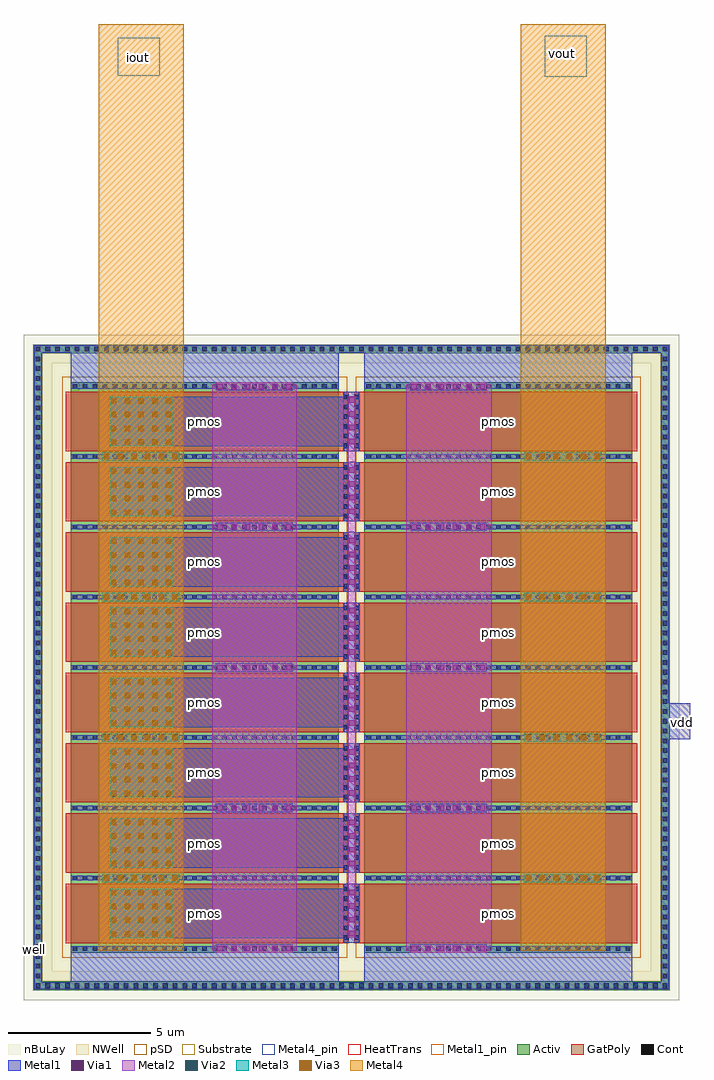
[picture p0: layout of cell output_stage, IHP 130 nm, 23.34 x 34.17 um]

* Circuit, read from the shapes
.subckt output_stage iout vdd vout
XM1 iout iout vdd vdd sg13_lv_pmos w=9.375u l=2.08u m=8
XM2 vout iout vdd vdd sg13_lv_pmos w=9.375u l=2.08u m=8
.ends

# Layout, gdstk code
import gdstk
lib = gdstk.Library(unit=1e-6, precision=1e-09)
def R(c, l, rs):  # rectangles x0, y0, x1, y1
    for r in rs: c.add(gdstk.rectangle(r[:2], r[2:], *l))
def A(c, l, x, y, w, h, nx, ny, dx, dy):  # array of equal rectangles
    R(c, l, [(x+i*dx, y+j*dy, x+i*dx+w, y+j*dy+h) for i in range(nx) for j in range(ny)])
def P(c, l, *ps):  # polygons
    for p in ps: c.add(gdstk.Polygon(p, *l))
Activ = (1, 0)
GatPoly = (5, 0)
Cont = (6, 0)
Metal1 = (8, 0)
Metal1_pin = (8, 2)
Metal2 = (10, 0)
pSD = (14, 0)
Via1 = (19, 0)
Via2 = (29, 0)
Metal3 = (30, 0)
NWell = (31, 0)
nBuLay = (32, 0)
Substrate = (40, 0)
Via3 = (49, 0)
Metal4 = (50, 0)
Metal4_pin = (50, 2)
HeatTrans = (51, 0)

output_stage = lib.new_cell('output_stage')
A(output_stage, Activ, 12.33, 35.43, 0.3, 0.3, 1, 9, 0, 2.46)
A(output_stage, Activ, 22.615, 35.43, 0.3, 0.3, 1, 9, 0, 2.46)
R(output_stage, Activ, [(12.33,35.43,21.705,55.41), (22.615,35.43,31.99,55.41)])
P(output_stage, Activ, [(11.025,34.12),(11.025,56.72),(33.295,56.72),(33.295,34.12),(32.985,34.12),(32.985,56.41),(11.335,56.41),(11.335,34.43),(32.985,34.43),(32.985,34.12)])
A(output_stage, GatPoly, 12.15, 35.77, 9.735, 2.08, 1, 8, 0, 2.46)
A(output_stage, GatPoly, 21.885, 35.77, 0.18, 2.08, 1, 8, 0, 2.46)
A(output_stage, GatPoly, 22.255, 35.77, 0.18, 2.08, 1, 8, 0, 2.46)
A(output_stage, GatPoly, 22.435, 35.77, 9.735, 2.08, 1, 8, 0, 2.46)
R(output_stage, GatPoly, [(12.15,35.77,21.885,37.85), (22.435,35.77,32.17,37.85)])
A(output_stage, Cont, 11.785, 34.195, 0.16, 0.16, 3, 2, 0.345, 22.29)
A(output_stage, Cont, 13.5, 34.195, 0.16, 0.16, 3, 2, 0.345, 22.29)
A(output_stage, Cont, 15.215, 34.195, 0.16, 0.16, 3, 2, 0.345, 22.29)
A(output_stage, Cont, 16.245, 34.195, 0.16, 0.16, 3, 2, 0.345, 22.29)
A(output_stage, Cont, 17.275, 34.195, 0.16, 0.16, 3, 2, 0.345, 22.29)
A(output_stage, Cont, 18.99, 34.195, 0.16, 0.16, 3, 2, 0.345, 22.29)
A(output_stage, Cont, 20.705, 34.195, 0.16, 0.16, 3, 2, 0.345, 22.29)
A(output_stage, Cont, 21.735, 34.195, 0.16, 0.16, 3, 2, 0.345, 22.29)
A(output_stage, Cont, 22.765, 34.195, 0.16, 0.16, 3, 2, 0.345, 22.29)
A(output_stage, Cont, 24.48, 34.195, 0.16, 0.16, 3, 2, 0.345, 22.29)
A(output_stage, Cont, 25.51, 34.195, 0.16, 0.16, 3, 2, 0.345, 22.29)
A(output_stage, Cont, 27.225, 34.195, 0.16, 0.16, 3, 2, 0.345, 22.29)
A(output_stage, Cont, 28.255, 34.195, 0.16, 0.16, 3, 2, 0.345, 22.29)
A(output_stage, Cont, 29.97, 34.195, 0.16, 0.16, 3, 2, 0.345, 22.29)
A(output_stage, Cont, 31, 34.195, 0.16, 0.16, 3, 2, 0.345, 22.29)
A(output_stage, Cont, 12.4, 35.5, 0.16, 0.16, 1, 9, 0, 2.46)
A(output_stage, Cont, 12.745, 35.5, 0.16, 0.16, 5, 9, 0.35, 2.46)
A(output_stage, Cont, 14.49, 35.5, 0.16, 0.16, 5, 9, 0.35, 2.46)
A(output_stage, Cont, 16.235, 35.5, 0.16, 0.16, 5, 9, 0.35, 2.46)
A(output_stage, Cont, 17.98, 35.5, 0.16, 0.16, 5, 9, 0.35, 2.46)
A(output_stage, Cont, 19.725, 35.5, 0.16, 0.16, 6, 9, 0.35, 2.46)
A(output_stage, Cont, 22.685, 35.5, 0.16, 0.16, 1, 9, 0, 2.46)
A(output_stage, Cont, 23.03, 35.5, 0.16, 0.16, 5, 9, 0.35, 2.46)
A(output_stage, Cont, 24.775, 35.5, 0.16, 0.16, 5, 9, 0.35, 2.46)
A(output_stage, Cont, 26.52, 35.5, 0.16, 0.16, 5, 9, 0.35, 2.46)
A(output_stage, Cont, 28.265, 35.5, 0.16, 0.16, 5, 9, 0.35, 2.46)
A(output_stage, Cont, 30.01, 35.5, 0.16, 0.16, 6, 9, 0.35, 2.46)
A(output_stage, Cont, 11.1, 35.565, 0.16, 0.16, 1, 3, 0, 0.345)
A(output_stage, Cont, 33.06, 35.565, 0.16, 0.16, 1, 3, 0, 0.345)
A(output_stage, Cont, 21.895, 35.88, 0.16, 0.16, 1, 6, 0, 0.34)
A(output_stage, Cont, 22.265, 35.88, 0.16, 0.16, 1, 6, 0, 0.34)
A(output_stage, Cont, 11.1, 37.965, 0.16, 0.16, 1, 3, 0, 0.345)
A(output_stage, Cont, 33.06, 37.965, 0.16, 0.16, 1, 3, 0, 0.345)
A(output_stage, Cont, 21.895, 38.34, 0.16, 0.16, 1, 6, 0, 0.34)
A(output_stage, Cont, 22.265, 38.34, 0.16, 0.16, 1, 6, 0, 0.34)
A(output_stage, Cont, 11.1, 39.68, 0.16, 0.16, 1, 3, 0, 0.345)
A(output_stage, Cont, 33.06, 39.68, 0.16, 0.16, 1, 3, 0, 0.345)
A(output_stage, Cont, 21.895, 40.8, 0.16, 0.16, 1, 6, 0, 0.34)
A(output_stage, Cont, 22.265, 40.8, 0.16, 0.16, 1, 6, 0, 0.34)
A(output_stage, Cont, 11.1, 42.08, 0.16, 0.16, 1, 3, 0, 0.345)
A(output_stage, Cont, 33.06, 42.08, 0.16, 0.16, 1, 3, 0, 0.345)
A(output_stage, Cont, 21.895, 43.26, 0.16, 0.16, 1, 6, 0, 0.34)
A(output_stage, Cont, 22.265, 43.26, 0.16, 0.16, 1, 6, 0, 0.34)
A(output_stage, Cont, 11.1, 43.795, 0.16, 0.16, 1, 3, 0, 0.345)
A(output_stage, Cont, 33.06, 43.795, 0.16, 0.16, 1, 3, 0, 0.345)
A(output_stage, Cont, 21.895, 45.72, 0.16, 0.16, 1, 6, 0, 0.34)
A(output_stage, Cont, 22.265, 45.72, 0.16, 0.16, 1, 6, 0, 0.34)
A(output_stage, Cont, 11.1, 46.195, 0.16, 0.16, 1, 3, 0, 0.345)
A(output_stage, Cont, 33.06, 46.195, 0.16, 0.16, 1, 3, 0, 0.345)
A(output_stage, Cont, 11.1, 47.91, 0.16, 0.16, 1, 3, 0, 0.345)
A(output_stage, Cont, 33.06, 47.91, 0.16, 0.16, 1, 3, 0, 0.345)
A(output_stage, Cont, 21.895, 48.18, 0.16, 0.16, 1, 6, 0, 0.34)
A(output_stage, Cont, 22.265, 48.18, 0.16, 0.16, 1, 6, 0, 0.34)
A(output_stage, Cont, 11.1, 50.31, 0.16, 0.16, 1, 3, 0, 0.345)
A(output_stage, Cont, 33.06, 50.31, 0.16, 0.16, 1, 3, 0, 0.345)
A(output_stage, Cont, 21.895, 50.64, 0.16, 0.16, 1, 6, 0, 0.34)
A(output_stage, Cont, 22.265, 50.64, 0.16, 0.16, 1, 6, 0, 0.34)
A(output_stage, Cont, 11.1, 52.025, 0.16, 0.16, 1, 3, 0, 0.345)
A(output_stage, Cont, 33.06, 52.025, 0.16, 0.16, 1, 3, 0, 0.345)
A(output_stage, Cont, 21.895, 53.1, 0.16, 0.16, 1, 6, 0, 0.34)
A(output_stage, Cont, 22.265, 53.1, 0.16, 0.16, 1, 6, 0, 0.34)
A(output_stage, Cont, 11.1, 54.425, 0.16, 0.16, 1, 3, 0, 0.345)
A(output_stage, Cont, 33.06, 54.425, 0.16, 0.16, 1, 3, 0, 0.345)
R(output_stage, Cont, [(11.1,34.195,11.26,34.355), (11.1,34.195,11.26,34.355), (11.445,34.195,11.605,34.355), (12.815,34.195,12.975,34.355), (13.16,34.195,13.32,34.355), (14.53,34.195,14.69,34.355), (14.875,34.195,15.035,34.355), (18.305,34.195,18.465,34.355), (18.65,34.195,18.81,34.355), (20.02,34.195,20.18,34.355), (20.365,34.195,20.525,34.355), (23.795,34.195,23.955,34.355), (24.14,34.195,24.3,34.355), (26.54,34.195,26.7,34.355), (26.885,34.195,27.045,34.355), (29.285,34.195,29.445,34.355), (29.63,34.195,29.79,34.355), (32.03,34.195,32.19,34.355), (32.375,34.195,32.535,34.355), (32.715,34.195,32.875,34.355), (33.06,34.195,33.22,34.355), (33.06,34.195,33.22,34.355), (11.1,34.54,11.26,34.7), (33.06,34.54,33.22,34.7), (11.1,34.88,11.26,35.04), (33.06,34.88,33.22,35.04), (11.1,35.225,11.26,35.385), (33.06,35.225,33.22,35.385), (11.1,36.595,11.26,36.755), (33.06,36.595,33.22,36.755), (11.1,36.94,11.26,37.1), (33.06,36.94,33.22,37.1), (11.1,37.28,11.26,37.44), (33.06,37.28,33.22,37.44), (11.1,37.625,11.26,37.785), (33.06,37.625,33.22,37.785), (11.1,38.995,11.26,39.155), (33.06,38.995,33.22,39.155), (11.1,39.34,11.26,39.5), (33.06,39.34,33.22,39.5), (11.1,40.71,11.26,40.87), (33.06,40.71,33.22,40.87), (11.1,41.055,11.26,41.215), (33.06,41.055,33.22,41.215), (11.1,41.395,11.26,41.555), (33.06,41.395,33.22,41.555), (11.1,41.74,11.26,41.9), (33.06,41.74,33.22,41.9), (11.1,43.11,11.26,43.27), (33.06,43.11,33.22,43.27), (11.1,43.455,11.26,43.615), (33.06,43.455,33.22,43.615), (11.1,44.825,11.26,44.985), (33.06,44.825,33.22,44.985), (11.1,45.17,11.26,45.33), (33.06,45.17,33.22,45.33), (11.1,45.51,11.26,45.67), (33.06,45.51,33.22,45.67), (11.1,45.855,11.26,46.015), (33.06,45.855,33.22,46.015), (11.1,47.225,11.26,47.385), (33.06,47.225,33.22,47.385), (11.1,47.57,11.26,47.73), (33.06,47.57,33.22,47.73), (11.1,48.94,11.26,49.1), (33.06,48.94,33.22,49.1), (11.1,49.285,11.26,49.445), (33.06,49.285,33.22,49.445), (11.1,49.625,11.26,49.785), (33.06,49.625,33.22,49.785), (11.1,49.97,11.26,50.13), (33.06,49.97,33.22,50.13), (11.1,51.34,11.26,51.5), (33.06,51.34,33.22,51.5), (11.1,51.685,11.26,51.845), (33.06,51.685,33.22,51.845), (11.1,53.055,11.26,53.215), (33.06,53.055,33.22,53.215), (11.1,53.4,11.26,53.56), (33.06,53.4,33.22,53.56), (11.1,53.74,11.26,53.9), (33.06,53.74,33.22,53.9), (11.1,54.085,11.26,54.245), (33.06,54.085,33.22,54.245), (11.1,55.455,11.26,55.615), (33.06,55.455,33.22,55.615), (11.1,55.8,11.26,55.96), (33.06,55.8,33.22,55.96), (11.1,56.14,11.26,56.3), (33.06,56.14,33.22,56.3), (11.1,56.485,11.26,56.645), (11.1,56.485,11.26,56.645), (11.445,56.485,11.605,56.645), (12.815,56.485,12.975,56.645), (13.16,56.485,13.32,56.645), (14.53,56.485,14.69,56.645), (14.875,56.485,15.035,56.645), (18.305,56.485,18.465,56.645), (18.65,56.485,18.81,56.645), (20.02,56.485,20.18,56.645), (20.365,56.485,20.525,56.645), (23.795,56.485,23.955,56.645), (24.14,56.485,24.3,56.645), (26.54,56.485,26.7,56.645), (26.885,56.485,27.045,56.645), (29.285,56.485,29.445,56.645), (29.63,56.485,29.79,56.645), (32.03,56.485,32.19,56.645), (32.375,56.485,32.535,56.645), (32.715,56.485,32.875,56.645), (33.06,56.485,33.22,56.645), (33.06,56.485,33.22,56.645)])
A(output_stage, Metal1, 17.415, 35.435, 2.69, 0.29, 1, 5, 0, 4.92)
A(output_stage, Metal1, 24.21, 35.435, 2.69, 0.29, 1, 5, 0, 4.92)
A(output_stage, Metal1, 21.89, 35.775, 0.17, 2.07, 1, 8, 0, 2.46)
A(output_stage, Metal1, 22.06, 35.775, 0.2, 2.07, 1, 6, 0, 2.46)
A(output_stage, Metal1, 22.26, 35.775, 0.17, 2.07, 1, 8, 0, 2.46)
A(output_stage, Metal1, 15.9, 35.945, 6.53, 1.73, 1, 3, 0, 2.46)
A(output_stage, Metal1, 13.435, 37.895, 2.69, 0.29, 1, 4, 0, 4.92)
A(output_stage, Metal1, 28.21, 37.895, 2.69, 0.29, 1, 4, 0, 4.92)
A(output_stage, Metal1, 12.33, 37.96, 9.375, 0.16, 1, 8, 0, 2.46)
A(output_stage, Metal1, 22.615, 37.96, 9.375, 0.16, 1, 8, 0, 2.46)
A(output_stage, Metal1, 13.69, 43.33, 2.21, 1.73, 1, 3, 0, 2.46)
A(output_stage, Metal1, 15.9, 43.33, 6.53, 1.73, 1, 3, 0, 2.46)
R(output_stage, Metal1, [(12.33,34.405,21.705,35.5), (22.615,34.405,31.99,35.5), (12.33,35.5,21.705,35.66), (12.33,35.5,21.705,35.66), (22.615,35.5,31.99,35.66), (22.615,35.5,31.99,35.66), (13.69,35.945,15.9,37.675), (13.69,35.945,15.9,37.675), (22.025,35.96,22.315,37.69), (12.33,37.96,21.705,38.12), (22.615,37.96,31.99,38.12), (13.69,38.405,15.9,40.135), (13.69,38.405,15.9,40.135), (22.025,38.41,22.315,40.14), (13.69,40.865,15.9,42.595), (13.69,40.865,15.9,42.595), (22.025,40.88,22.315,42.61), (33.27,42.905,34.025,44.17), (22.025,43.33,22.315,45.06), (22.025,45.82,22.315,47.55), (22.06,48.095,22.26,50.165), (22.025,48.27,22.315,50), (22.06,50.535,22.26,52.605), (22.06,50.555,22.26,52.625), (13.69,50.705,15.9,52.435), (15.9,50.705,22.43,52.435), (22.025,50.74,22.315,52.47), (22.06,52.995,22.26,55.065), (13.69,53.165,15.9,54.895), (15.9,53.165,22.43,54.895), (22.025,53.19,22.315,54.92), (12.33,55.34,21.705,56.435), (22.615,55.34,31.99,56.435)])
P(output_stage, Metal1, [(11.05,34.145),(11.05,56.695),(33.27,56.695),(33.27,34.145),(33.01,34.145),(33.01,56.435),(11.31,56.435),(11.31,34.405),(33.01,34.405),(33.01,34.145)])
R(output_stage, Metal1_pin, [(33.61,43.33,33.865,43.655)])
A(output_stage, Metal2, 17.415, 35.435, 2.69, 0.29, 1, 5, 0, 4.92)
A(output_stage, Metal2, 24.21, 35.435, 2.69, 0.29, 1, 5, 0, 4.92)
A(output_stage, Metal2, 13.435, 37.895, 2.69, 0.29, 1, 4, 0, 4.92)
A(output_stage, Metal2, 28.21, 37.895, 2.69, 0.29, 1, 4, 0, 4.92)
A(output_stage, Metal2, 13.69, 43.33, 2.21, 1.73, 1, 3, 0, 2.46)
R(output_stage, Metal2, [(17.285,35.5,20.235,55.34), (24.08,35.5,27.075,55.34), (13.69,35.945,15.9,37.675), (13.69,35.945,15.9,37.675), (22.025,35.96,22.315,53.19), (22.025,35.96,22.315,37.69), (13.69,38.405,15.9,40.135), (13.69,38.405,15.9,40.135), (22.025,38.41,22.315,40.14), (13.69,40.865,15.9,42.595), (13.69,40.865,15.9,42.595), (22.025,40.88,22.315,42.61), (22.025,43.33,22.315,45.06), (22.025,45.82,22.315,47.55), (22.025,48.27,22.315,50), (13.69,50.705,15.9,52.435), (22.025,50.74,22.315,52.47), (13.69,53.165,15.9,54.895), (22.025,53.19,22.315,54.92)])
R(output_stage, pSD, [(12.03,35.25,22.005,55.59), (22.315,35.25,32.29,55.59)])
A(output_stage, Via1, 17.465, 35.485, 0.19, 0.19, 6, 5, 0.48, 4.92)
A(output_stage, Via1, 24.26, 35.485, 0.19, 0.19, 6, 5, 0.48, 4.92)
A(output_stage, Via1, 22.075, 36.01, 0.19, 0.19, 1, 4, 0, 0.48)
A(output_stage, Via1, 13.485, 37.945, 0.19, 0.19, 6, 4, 0.48, 4.92)
A(output_stage, Via1, 28.26, 37.945, 0.19, 0.19, 6, 4, 0.48, 4.92)
A(output_stage, Via1, 22.075, 38.46, 0.19, 0.19, 1, 4, 0, 0.48)
A(output_stage, Via1, 22.075, 40.93, 0.19, 0.19, 1, 4, 0, 0.48)
A(output_stage, Via1, 13.74, 43.38, 0.19, 0.19, 5, 4, 0.48, 0.48)
A(output_stage, Via1, 22.075, 43.38, 0.19, 0.19, 1, 4, 0, 0.48)
A(output_stage, Via1, 13.74, 45.84, 0.19, 0.19, 5, 4, 0.48, 0.48)
A(output_stage, Via1, 22.075, 45.87, 0.19, 0.19, 1, 4, 0, 0.48)
A(output_stage, Via1, 13.74, 48.3, 0.19, 0.19, 5, 4, 0.48, 0.48)
A(output_stage, Via1, 22.075, 48.32, 0.19, 0.19, 1, 4, 0, 0.48)
A(output_stage, Via1, 13.74, 50.755, 0.19, 0.19, 5, 4, 0.48, 0.48)
A(output_stage, Via1, 22.075, 50.79, 0.19, 0.19, 1, 4, 0, 0.48)
A(output_stage, Via1, 13.74, 53.215, 0.19, 0.19, 5, 4, 0.48, 0.48)
A(output_stage, Via1, 22.075, 53.24, 0.19, 0.19, 1, 4, 0, 0.48)
R(output_stage, Via1, [(13.74,35.995,13.93,36.185), (13.74,35.995,13.93,36.185), (14.22,35.995,14.41,36.185), (14.22,35.995,14.41,36.185), (14.7,35.995,14.89,36.185), (14.7,35.995,14.89,36.185), (15.18,35.995,15.37,36.185), (15.18,35.995,15.37,36.185), (15.66,35.995,15.85,36.185), (15.66,35.995,15.85,36.185), (13.74,36.475,13.93,36.665), (13.74,36.475,13.93,36.665), (14.22,36.475,14.41,36.665), (14.22,36.475,14.41,36.665), (14.7,36.475,14.89,36.665), (14.7,36.475,14.89,36.665), (15.18,36.475,15.37,36.665), (15.18,36.475,15.37,36.665), (15.66,36.475,15.85,36.665), (15.66,36.475,15.85,36.665), (13.74,36.955,13.93,37.145), (13.74,36.955,13.93,37.145), (14.22,36.955,14.41,37.145), (14.22,36.955,14.41,37.145), (14.7,36.955,14.89,37.145), (14.7,36.955,14.89,37.145), (15.18,36.955,15.37,37.145), (15.18,36.955,15.37,37.145), (15.66,36.955,15.85,37.145), (15.66,36.955,15.85,37.145), (13.74,37.435,13.93,37.625), (13.74,37.435,13.93,37.625), (14.22,37.435,14.41,37.625), (14.22,37.435,14.41,37.625), (14.7,37.435,14.89,37.625), (14.7,37.435,14.89,37.625), (15.18,37.435,15.37,37.625), (15.18,37.435,15.37,37.625), (15.66,37.435,15.85,37.625), (15.66,37.435,15.85,37.625), (13.74,38.455,13.93,38.645), (13.74,38.455,13.93,38.645), (14.22,38.455,14.41,38.645), (14.22,38.455,14.41,38.645), (14.7,38.455,14.89,38.645), (14.7,38.455,14.89,38.645), (15.18,38.455,15.37,38.645), (15.18,38.455,15.37,38.645), (15.66,38.455,15.85,38.645), (15.66,38.455,15.85,38.645), (13.74,38.935,13.93,39.125), (13.74,38.935,13.93,39.125), (14.22,38.935,14.41,39.125), (14.22,38.935,14.41,39.125), (14.7,38.935,14.89,39.125), (14.7,38.935,14.89,39.125), (15.18,38.935,15.37,39.125), (15.18,38.935,15.37,39.125), (15.66,38.935,15.85,39.125), (15.66,38.935,15.85,39.125), (13.74,39.415,13.93,39.605), (13.74,39.415,13.93,39.605), (14.22,39.415,14.41,39.605), (14.22,39.415,14.41,39.605), (14.7,39.415,14.89,39.605), (14.7,39.415,14.89,39.605), (15.18,39.415,15.37,39.605), (15.18,39.415,15.37,39.605), (15.66,39.415,15.85,39.605), (15.66,39.415,15.85,39.605), (13.74,39.895,13.93,40.085), (13.74,39.895,13.93,40.085), (14.22,39.895,14.41,40.085), (14.22,39.895,14.41,40.085), (14.7,39.895,14.89,40.085), (14.7,39.895,14.89,40.085), (15.18,39.895,15.37,40.085), (15.18,39.895,15.37,40.085), (15.66,39.895,15.85,40.085), (15.66,39.895,15.85,40.085), (13.74,40.915,13.93,41.105), (13.74,40.915,13.93,41.105), (14.22,40.915,14.41,41.105), (14.22,40.915,14.41,41.105), (14.7,40.915,14.89,41.105), (14.7,40.915,14.89,41.105), (15.18,40.915,15.37,41.105), (15.18,40.915,15.37,41.105), (15.66,40.915,15.85,41.105), (15.66,40.915,15.85,41.105), (13.74,41.395,13.93,41.585), (13.74,41.395,13.93,41.585), (14.22,41.395,14.41,41.585), (14.22,41.395,14.41,41.585), (14.7,41.395,14.89,41.585), (14.7,41.395,14.89,41.585), (15.18,41.395,15.37,41.585), (15.18,41.395,15.37,41.585), (15.66,41.395,15.85,41.585), (15.66,41.395,15.85,41.585), (13.74,41.875,13.93,42.065), (13.74,41.875,13.93,42.065), (14.22,41.875,14.41,42.065), (14.22,41.875,14.41,42.065), (14.7,41.875,14.89,42.065), (14.7,41.875,14.89,42.065), (15.18,41.875,15.37,42.065), (15.18,41.875,15.37,42.065), (15.66,41.875,15.85,42.065), (15.66,41.875,15.85,42.065), (13.74,42.355,13.93,42.545), (13.74,42.355,13.93,42.545), (14.22,42.355,14.41,42.545), (14.22,42.355,14.41,42.545), (14.7,42.355,14.89,42.545), (14.7,42.355,14.89,42.545), (15.18,42.355,15.37,42.545), (15.18,42.355,15.37,42.545), (15.66,42.355,15.85,42.545), (15.66,42.355,15.85,42.545)])
A(output_stage, Via2, 13.74, 35.995, 0.19, 0.19, 5, 4, 0.48, 0.48)
A(output_stage, Via2, 13.485, 37.945, 0.19, 0.19, 6, 4, 0.48, 4.92)
A(output_stage, Via2, 28.26, 37.945, 0.19, 0.19, 6, 4, 0.48, 4.92)
A(output_stage, Via2, 13.74, 38.455, 0.19, 0.19, 5, 4, 0.48, 0.48)
A(output_stage, Via2, 13.74, 40.915, 0.19, 0.19, 5, 4, 0.48, 0.48)
A(output_stage, Via2, 13.74, 43.38, 0.19, 0.19, 5, 4, 0.48, 0.48)
A(output_stage, Via2, 13.74, 45.84, 0.19, 0.19, 5, 4, 0.48, 0.48)
A(output_stage, Via2, 13.74, 48.3, 0.19, 0.19, 5, 4, 0.48, 0.48)
A(output_stage, Via2, 13.74, 50.755, 0.19, 0.19, 5, 4, 0.48, 0.48)
A(output_stage, Via2, 13.74, 53.215, 0.19, 0.19, 5, 4, 0.48, 0.48)
A(output_stage, Metal3, 13.69, 35.945, 2.21, 1.73, 1, 3, 0, 2.46)
A(output_stage, Metal3, 13.435, 37.895, 2.69, 0.29, 1, 4, 0, 4.92)
A(output_stage, Metal3, 28.21, 37.895, 2.69, 0.29, 1, 4, 0, 4.92)
A(output_stage, Metal3, 13.69, 43.33, 2.21, 1.73, 1, 3, 0, 2.46)
R(output_stage, Metal3, [(13.69,50.705,15.9,52.435), (13.69,53.165,15.9,54.895)])
R(output_stage, NWell, [(11.025,34.12,33.295,56.72), (12.02,35.12,22.015,55.72), (22.305,35.12,32.3,55.72)])
R(output_stage, nBuLay, [(10.68,33.775,32.64,34.775), (32.64,33.775,33.64,56.065), (10.68,34.775,11.68,57.07), (11.68,56.065,33.64,57.065)])
R(output_stage, Substrate, [(12.33,55.11,12.63,55.41), (22.615,55.11,22.915,55.41)])
A(output_stage, Via3, 13.74, 35.995, 0.19, 0.19, 5, 4, 0.48, 0.48)
A(output_stage, Via3, 13.485, 37.945, 0.19, 0.19, 6, 4, 0.48, 4.92)
A(output_stage, Via3, 28.26, 37.945, 0.19, 0.19, 6, 4, 0.48, 4.92)
A(output_stage, Via3, 13.74, 38.455, 0.19, 0.19, 5, 4, 0.48, 0.48)
A(output_stage, Via3, 13.74, 40.915, 0.19, 0.19, 5, 4, 0.48, 0.48)
A(output_stage, Via3, 13.74, 43.38, 0.19, 0.19, 5, 4, 0.48, 0.48)
A(output_stage, Via3, 13.74, 45.84, 0.19, 0.19, 5, 4, 0.48, 0.48)
A(output_stage, Via3, 13.74, 48.3, 0.19, 0.19, 5, 4, 0.48, 0.48)
A(output_stage, Via3, 13.74, 50.755, 0.19, 0.19, 5, 4, 0.48, 0.48)
A(output_stage, Via3, 13.74, 53.215, 0.19, 0.19, 5, 4, 0.48, 0.48)
A(output_stage, Metal4, 13.69, 35.945, 2.21, 1.73, 1, 3, 0, 2.46)
A(output_stage, Metal4, 13.435, 37.895, 2.69, 0.29, 1, 4, 0, 4.92)
A(output_stage, Metal4, 28.21, 37.895, 2.69, 0.29, 1, 4, 0, 4.92)
A(output_stage, Metal4, 13.69, 43.33, 2.21, 1.73, 1, 3, 0, 2.46)
R(output_stage, Metal4, [(13.305,35.5,16.285,67.945), (28.08,35.5,31.06,67.935), (13.69,50.705,15.9,52.435), (13.69,53.165,15.9,54.895)])
R(output_stage, Metal4_pin, [(28.93,66.105,30.4,67.535), (13.97,66.14,15.455,67.465)])
A(output_stage, HeatTrans, 12.15, 35.77, 9.735, 2.08, 1, 8, 0, 2.46)
A(output_stage, HeatTrans, 22.435, 35.77, 9.735, 2.08, 1, 8, 0, 2.46)
output_stage.add(gdstk.Label('well', (11.05,35.55), layer=63, texttype=0))
output_stage.add(gdstk.Label('pmos', (17.018,36.81), layer=63, texttype=0))
output_stage.add(gdstk.Label('pmos', (27.303,36.81), layer=63, texttype=0))
output_stage.add(gdstk.Label('pmos', (17.018,36.81), layer=51, texttype=0))
output_stage.add(gdstk.Label('pmos', (17.018,39.27), layer=51, texttype=0))
output_stage.add(gdstk.Label('pmos', (17.018,41.73), layer=51, texttype=0))
output_stage.add(gdstk.Label('pmos', (17.018,44.19), layer=51, texttype=0))
output_stage.add(gdstk.Label('pmos', (17.018,46.65), layer=51, texttype=0))
output_stage.add(gdstk.Label('pmos', (17.018,49.11), layer=51, texttype=0))
output_stage.add(gdstk.Label('pmos', (17.018,51.57), layer=51, texttype=0))
output_stage.add(gdstk.Label('pmos', (17.018,54.03), layer=51, texttype=0))
output_stage.add(gdstk.Label('pmos', (27.303,36.81), layer=51, texttype=0))
output_stage.add(gdstk.Label('pmos', (27.303,39.27), layer=51, texttype=0))
output_stage.add(gdstk.Label('pmos', (27.303,41.73), layer=51, texttype=0))
output_stage.add(gdstk.Label('pmos', (27.303,44.19), layer=51, texttype=0))
output_stage.add(gdstk.Label('pmos', (27.303,46.65), layer=51, texttype=0))
output_stage.add(gdstk.Label('pmos', (27.303,49.11), layer=51, texttype=0))
output_stage.add(gdstk.Label('pmos', (27.303,51.57), layer=51, texttype=0))
output_stage.add(gdstk.Label('pmos', (27.303,54.03), layer=51, texttype=0))
output_stage.add(gdstk.Label('vdd', (33.75,43.475), layer=8, texttype=25))
output_stage.add(gdstk.Label('iout', (14.69,66.76), layer=50, texttype=25))
output_stage.add(gdstk.Label('vout', (29.545,66.92), layer=50, texttype=25))

lib.write_gds('output_stage.gds')
